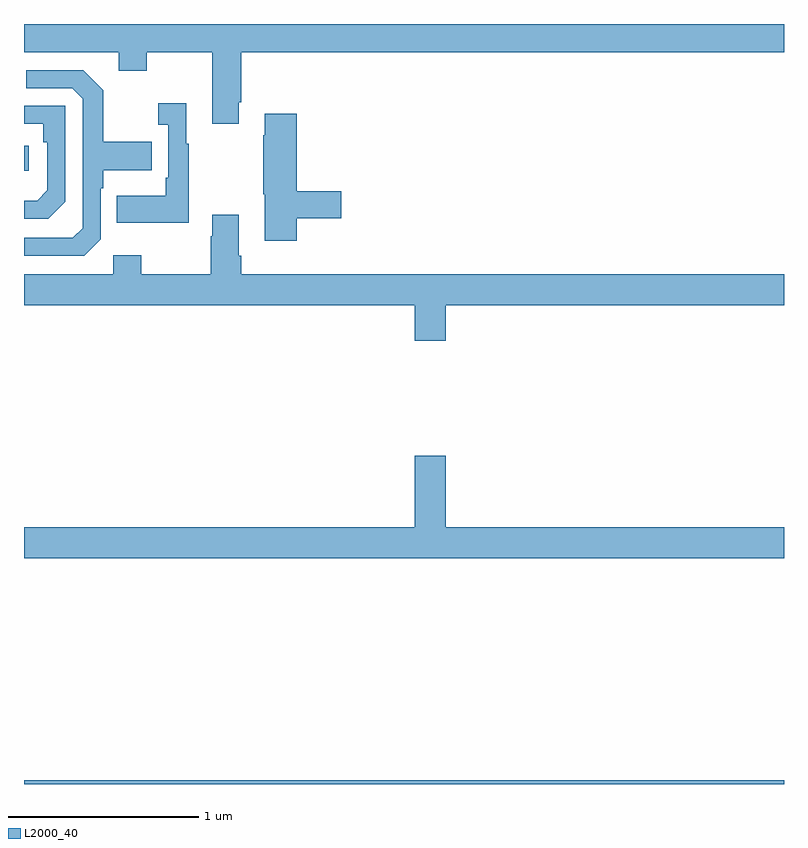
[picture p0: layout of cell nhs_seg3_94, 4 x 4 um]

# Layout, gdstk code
import gdstk
lib = gdstk.Library(unit=1e-6, precision=1e-09)
def R(c, l, rs):  # rectangles x0, y0, x1, y1
    for r in rs: c.add(gdstk.rectangle(r[:2], r[2:], *l))
def P(c, l, *ps):  # polygons
    for p in ps: c.add(gdstk.Polygon(p, *l))
L2000_40 = (2000, 40)

nhs_seg3_94 = lib.new_cell('nhs_seg3_94')
R(nhs_seg3_94, L2000_40, [(115,694.4,119,694.42), (115,697.628,115.024,697.758)])
P(nhs_seg3_94, L2000_40, [(116.131,697.987),(116.144,697.987),(116.144,698.252),(119,698.252),(119,698.4),(115,698.4),(115,698.252),(115.499,698.252),(115.499,698.153),(115.647,698.153),(115.647,698.252),(115.991,698.252),(115.991,697.875),(116.131,697.875)],
  [(115.404,697.266),(115.404,697.535),(115.417,697.535),(115.417,697.631),(115.673,697.631),(115.673,697.779),(115.417,697.779),(115.417,698.051),(115.311,698.157),(115.011,698.157),(115.011,698.061),(115.254,698.061),(115.308,698.007),(115.308,697.326),(115.257,697.275),(115,697.275),(115,697.179),(115.317,697.179)],
  [(115.867,697.771),(115.855,697.771),(115.855,697.984),(115.707,697.984),(115.707,697.871),(115.758,697.871),(115.758,697.591),(115.746,697.591),(115.746,697.495),(115.489,697.495),(115.489,697.355),(115.867,697.355)],
  [(115.218,697.464),(115.218,697.971),(115,697.971),(115,697.875),(115.102,697.875),(115.102,697.778),(115.122,697.778),(115.122,697.524),(115.069,697.471),(115,697.471),(115,697.374),(115.128,697.374)],
  [(116.435,697.378),(116.671,697.378),(116.671,697.52),(116.435,697.52),(116.435,697.927),(116.267,697.927),(116.267,697.814),(116.26,697.814),(116.26,697.503),(116.267,697.503),(116.267,697.26),(116.435,697.26)],
  [(117.22,696.92),(119,696.92),(119,697.084),(116.144,697.084),(116.144,697.18),(116.131,697.18),(116.131,697.396),(115.991,697.396),(115.991,697.283),(115.984,697.283),(115.984,697.084),(115.617,697.084),(115.617,697.183),(115.47,697.183),(115.47,697.084),(115,697.084),(115,696.92),(117.056,696.92),(117.056,696.732),(117.22,696.732)],
  [(119,695.752),(117.22,695.752),(117.22,696.127),(117.056,696.127),(117.056,695.752),(115,695.752),(115,695.588),(119,695.588)])

lib.write_gds('nhs_seg3_94.gds')
